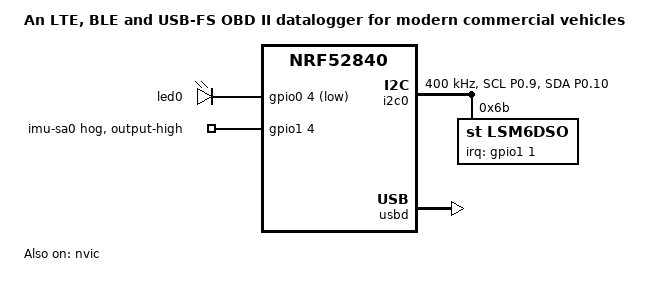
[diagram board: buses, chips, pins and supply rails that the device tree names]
/dts-v1/;

#include <nordic/nrf52840_qiaa.dtsi>
#include "carnlog-pinctrl.dtsi"

/ {
	model = "An LTE, BLE and USB-FS OBD II datalogger for modern commercial vehicles";
	compatible = "labfermion,carnlog";

	chosen {
		zephyr,sram = &sram0;
		zephyr,flash = &flash0;
		zephyr,code-partition = &slot0_partition;
                zephyr,console = &usblog;
	};

	aliases {
		led0 = &led0;
	};

	leds {
		compatible = "gpio-leds";
		led0:led0 {
			gpios = <&gpio0 4 GPIO_ACTIVE_LOW>;
			label = "led0";
		};
	};
};

&flash0 {
	partitions {
		compatible = "fixed-partitions";
		#address-cells = <1>;
		#size-cells = <1>;

		boot_partition: partition@0 {
			label = "mcuboot";
			reg = <0x0 DT_SIZE_K(48)>;
		};

		slot0_partition: partition@c000 {
			label = "image-0";
			reg = <0xc000 DT_SIZE_K(472)>;
		};

		slot1_partition: partition@82000 {
			label = "image-1";
			reg = <0x82000 DT_SIZE_K(472)>;
		};

		storage_partition: partition@f8000 {
			label = "storage";
			reg = <0xf8000 DT_SIZE_K(32)>;
		};
	};
};

&gpio0 {
	status = "okay";
	gpiote-instance = <&gpiote>;
};

&gpio1 {
	status = "okay";
	gpiote-instance = <&gpiote>;

		sa0-high {
			gpio-hog;
			gpios = <4 GPIO_ACTIVE_HIGH>;   /* P1.04 */
			output-high;
			line-name = "imu-sa0";
		};
};

&gpiote {
	status = "okay";
};

&i2c0 {

	status = "okay";
	pinctrl-0 = <&i2c0_lsm6dso>;
        pinctrl-names = "default";
	label = "lsm6dso i2c";
	clock-frequency = <DT_FREQ_K(400)>;

		lsm6dso: lsm6dso@6b {
			compatible = "st,lsm6dso";
			status = "okay";
			reg = <0x6b>; /* 0x6b, SA0 = VDD */
			irq-gpios = <&gpio1 1 GPIO_ACTIVE_HIGH>;
			int-pin = <1>; /* 1 = IMU INT1 pin, 2 = INT2 */
			interrupts = <0 0>;
			friendly-name = "lsm6dso";
		};
};

&pinctrl {
	i2c0_lsm6dso: i2c0_lsm6dso {
		group1 {
			psels = <NRF_PSEL(TWIM_SCL, 0, 9)>, <NRF_PSEL(TWIM_SDA, 0, 10)>;
			nordic,drive-mode = <NRF_DRIVE_S0S1>;
		};
	};
};

&nvic {
	status = "okay";
};

usbd: &usbd {
	status = "okay";
		usblog: cdc_acm_uart0 {
		   compatible = "zephyr,cdc-acm-uart";
		   label = "usblog";
		};
};
